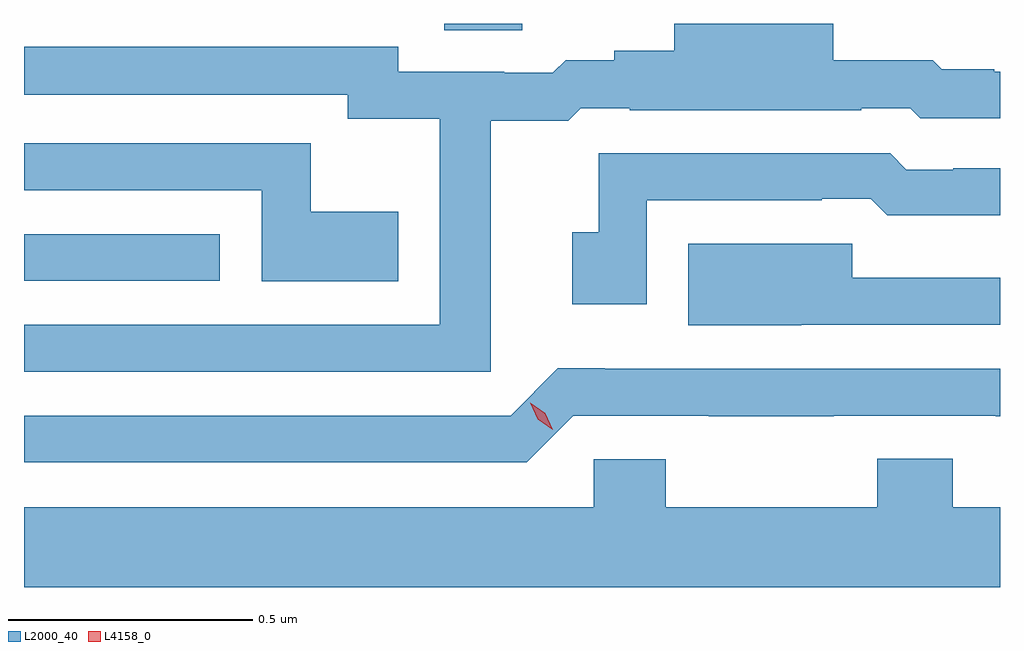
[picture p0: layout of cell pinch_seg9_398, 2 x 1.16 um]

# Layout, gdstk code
import gdstk
lib = gdstk.Library(unit=1e-6, precision=1e-09)
def R(c, l, rs):  # rectangles x0, y0, x1, y1
    for r in rs: c.add(gdstk.rectangle(r[:2], r[2:], *l))
def P(c, l, *ps):  # polygons
    for p in ps: c.add(gdstk.Polygon(p, *l))
L2000_40 = (2000, 40)
L4158_0 = (4158, 0)

pinch_seg9_398 = lib.new_cell('pinch_seg9_398')
R(pinch_seg9_398, L2000_40, [(287.126,1230.348,287.527,1230.444), (287.987,1230.862,288.147,1230.875)])
P(pinch_seg9_398, L2000_40, [(288.082,1230.676),(288.241,1230.676),(288.267,1230.702),(288.367,1230.702),(288.367,1230.698),(288.842,1230.698),(288.842,1230.702),(288.942,1230.702),(288.963,1230.681),(289.126,1230.681),(289.126,1230.777),(289.114,1230.777),(289.114,1230.782),(289.007,1230.782),(288.988,1230.8),(288.784,1230.8),(288.784,1230.875),(288.458,1230.875),(288.458,1230.82),(288.336,1230.82),(288.336,1230.8),(288.236,1230.8),(288.21,1230.774),(288.11,1230.774),(288.11,1230.777),(287.893,1230.777),(287.893,1230.828),(287.126,1230.828),(287.126,1230.729),(287.789,1230.729),(287.789,1230.68),(287.978,1230.68),(287.978,1230.258),(287.126,1230.258),(287.126,1230.162),(288.082,1230.162)],
  [(287.893,1230.49),(287.714,1230.49),(287.714,1230.63),(287.126,1230.63),(287.126,1230.534),(287.613,1230.534),(287.613,1230.347),(287.893,1230.347)],
  [(288.402,1230.513),(288.761,1230.513),(288.761,1230.516),(288.861,1230.516),(288.895,1230.482),(289.126,1230.482),(289.126,1230.579),(289.03,1230.579),(289.03,1230.576),(288.934,1230.576),(288.901,1230.609),(288.304,1230.609),(288.304,1230.448),(288.249,1230.448),(288.249,1230.3),(288.402,1230.3)],
  [(288.719,1230.258),(289.126,1230.258),(289.126,1230.354),(288.823,1230.354),(288.823,1230.424),(288.487,1230.424),(288.487,1230.257),(288.719,1230.257)],
  [(288.252,1230.072),(288.529,1230.072),(288.529,1230.071),(288.785,1230.071),(288.785,1230.072),(289.117,1230.072),(289.117,1230.071),(289.126,1230.071),(289.126,1230.168),(288.316,1230.168),(288.316,1230.169),(288.22,1230.169),(288.123,1230.072),(287.126,1230.072),(287.126,1229.976),(288.156,1229.976)],
  [(289.126,1229.884),(289.029,1229.884),(289.029,1229.983),(288.874,1229.983),(288.874,1229.884),(288.441,1229.884),(288.441,1229.982),(288.294,1229.982),(288.294,1229.884),(287.126,1229.884),(287.126,1229.72),(289.126,1229.72)])
P(pinch_seg9_398, L4158_0, [(288.21,1230.043),(288.179,1230.064),(288.163,1230.098),(288.163,1230.098),(288.163,1230.098),(288.194,1230.077),(288.21,1230.043),(288.21,1230.043)])

lib.write_gds('pinch_seg9_398.gds')
